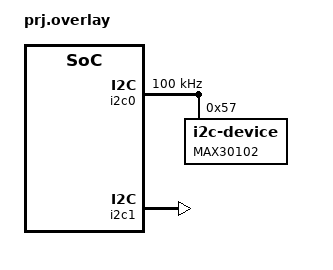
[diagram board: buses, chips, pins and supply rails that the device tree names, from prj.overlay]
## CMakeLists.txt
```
cmake_minimum_required(VERSION 3.20.0)
find_package(Zephyr REQUIRED HINTS $ENV{ZEPHYR_BASE})

project(i2c_devices)

target_sources(app PRIVATE src/main.c src/heart_rate.c src/i2c.c src/MAX30102.c src/BMP280.c src/MLX90614.c src/MPU6050.c)
```

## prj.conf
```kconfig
CONFIG_I2C=y
CONFIG_I2C_TARGET=y
CONFIG_I2C_NRFX=y
CONFIG_SERIAL=y
CONFIG_PRINTK=y
CONFIG_GPIO=y
CONFIG_UART_CONSOLE=y
CONFIG_ADC=y
CONFIG_ADC_NRFX_SAADC=y
CONFIG_PRINTK=y
CONFIG_CBPRINTF_FP_SUPPORT=y
CONFIG_SHELL=y
CONFIG_I2C_SHELL=y
```

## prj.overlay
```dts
&i2c0 {
    compatible = "nordic,nrf-twim";
    status = "okay";
    clock-frequency = <I2C_BITRATE_STANDARD>;

    max30102: max30102@57 {
        compatible = "i2c-device";
        reg = <0x57>;
        label = "MAX30102";
    };
};

&i2c1 {
    status = "okay";
};
```

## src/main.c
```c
#include <zephyr/device.h>
#include <zephyr/drivers/i2c.h>
#include <zephyr/sys/printk.h>
#include <zephyr/kernel.h>
#include <stdint.h>
#include <stdio.h>
#include <stdlib.h>

#include "MPU6050.h"
#include "MLX90614.h"
#include "BMP280.h"
#include "i2c.h"
#include "i2c.h"
#include "MAX30102.h"
#include "heart_rate.h"

//static const struct i2c_dt_spec dev_max30102 = MAX30102_DT_SPEC;


int main(void) {
    i2c_init();
    // max30102_default_setup(&dev_max30102);

    while (1) {
        i2c_read_data();  // Read and print other sensors
        // max30102_print_data();  // Print MAX30102 data
        // sleep for 0.1 seconds
        k_sleep(K_MSEC(100));
    }

    return 0;
}
```

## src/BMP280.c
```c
// #include <zephyr/device.h>
// #include <zephyr/drivers/i2c.h>
// #include <zephyr/sys/printk.h>
// #include <zephyr/kernel.h>
// #include "bmp280.h"
// #include "i2c.h"

// // Calibration parameters
// uint16_t dig_T1;
// int16_t dig_T2, dig_T3;
// uint16_t dig_P1;
// int16_t dig_P2, dig_P3, dig_P4, dig_P5, dig_P6, dig_P7, dig_P8, dig_P9;
// int32_t t_fine;

// void bmp280_init(const struct device *i2c_dev) {
//     uint8_t chip_id;

//     // Read Chip ID
//     if (i2c_read_register(i2c_dev, BMP280_ADDR, BMP280_REG_CHIPID, &chip_id) != 0 || chip_id != 0x58) {
//         printk("Error: BMP280 not detected or invalid Chip ID\n");
//         return;
//     }
//     printk("BMP280 detected. Chip ID: 0x%x\n", chip_id);

//     // Reset the sensor
//     i2c_write_register(i2c_dev, BMP280_ADDR, BMP280_REG_SOFTRESET, 0xB6);
//     k_sleep(K_MSEC(100));

//     // Read calibration data
//     uint8_t calib_data[24];
//     if (i2c_read_registers(i2c_dev, BMP280_ADDR, BMP280_REG_CALIB_START, calib_data, sizeof(calib_data)) != 0) {
//         printk("Error: Failed to read calibration data\n");
//         return;
//     }

//     // Parse calibration data
//     dig_T1 = (calib_data[1] << 8) | calib_data[0];
//     dig_T2 = (calib_data[3] << 8) | calib_data[2];
//     dig_T3 = (calib_data[5] << 8) | calib_data[4];
//     dig_P1 = (calib_data[7] << 8) | calib_data[6];
//     dig_P2 = (calib_data[9] << 8) | calib_data[8];
//     dig_P3 = (calib_data[11] << 8) | calib_data[10];
//     dig_P4 = (calib_data[13] << 8) | calib_data[12];
//     dig_P5 = (calib_data[15] << 8) | calib_data[14];
//     dig_P6 = (calib_data[17] << 8) | calib_data[16];
//     dig_P7 = (calib_data[19] << 8) | calib_data[18];
//     dig_P8 = (calib_data[21] << 8) | calib_data[20];
//     dig_P9 = (calib_data[23] << 8) | calib_data[22];

//     // printk("Calibration Data: T1: %u, T2: %d, T3: %d, P1: %u, P2: %d, P3: %d, P4: %d, P5: %d, P6: %d, P7: %d, P8: %d, P9: %d\n",
//     //        dig_T1, dig_T2, dig_T3, dig_P1, dig_P2, dig_P3, dig_P4, dig_P5, dig_P6, dig_P7, dig_P8, dig_P9);

//     // Configure sensor: normal mode, oversampling x1 for temp & pressure
//     uint8_t ctrl_meas = (0x01 << 5) | (0x01 << 2) | 0x03;
//     i2c_write_register(i2c_dev, BMP280_ADDR, BMP280_REG_CONTROL, ctrl_meas);
//     i2c_write_register(i2c_dev, BMP280_ADDR, BMP280_REG_CONFIG, 0);
// }

// void read_bmp280_data(const struct device *i2c_dev) {
//     uint8_t data[6];

//     if (i2c_read_registers(i2c_dev, BMP280_ADDR, BMP280_REG_PRESSURE_MSB, data, sizeof(data)) != 0) {
//         printk("Error: Failed to read BMP280 data\n");
//         return;
//     }

//     int32_t adc_T = (data[3] << 12) | (data[4] << 4) | (data[5] >> 4);
//     int32_t adc_P = (data[0] << 12) | (data[1] << 4) | (data[2] >> 4);

//     //printk("ADC_T: %d, ADC_P: %d\n", adc_T, adc_P);

//     // Temperature compensation
//     int32_t var1 = ((((adc_T >> 3) - ((int32_t)dig_T1 << 1))) * ((int32_t)dig_T2)) >> 11;
//     int32_t var2 = (((((adc_T >> 4) - ((int32_t)dig_T1)) * ((adc_T >> 4) - ((int32_t)dig_T1))) >> 12) * ((int32_t)dig_T3)) >> 14;
//     t_fine = var1 + var2;
//     float celsius = ((t_fine * 5 + 128) >> 8) / 100.0f;

//     // Pressure compensation
//     int64_t var1_p = ((int64_t)t_fine) - 128000;
//     int64_t var2_p = var1_p * var1_p * (int64_t)dig_P6 + ((var1_p * (int64_t)dig_P5) << 17) + (((int64_t)dig_P4) << 35);
//     var1_p = (((var1_p * var1_p * (int64_t)dig_P3) >> 8) + ((var1_p * (int64_t)dig_P2) << 12));
//     var1_p = ((((int64_t)1 << 47) + var1_p) * (int64_t)dig_P1) >> 33;

//     if (var1_p == 0) {
//         printk("Error: Division by zero in pressure calculation\n");
//         return;
//     }

//     int64_t p = ((((int64_t)1048576 - adc_P) << 31) - var2_p) * 3125 / var1_p;
//     var1_p = (((int64_t)dig_P9) * (p >> 13) * (p >> 13)) >> 25;
//     var2_p = (((int64_t)dig_P8) * p) >> 19;
//     p = ((p + var1_p + var2_p) >> 8) + (((int64_t)dig_P7) << 4);

//     float pressure = p / 25600.0f;  // Convert to hPa

//     printk("Temperature: %.2f °C, Pressure: %.2f hPa\n", celsius, pressure);
// }
```

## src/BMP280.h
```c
#ifndef BMP280_H
#define BMP280_H

#include <zephyr/device.h>
#include <zephyr/drivers/i2c.h>
#include <zephyr/sys/printk.h>
#include <zephyr/kernel.h>
#include <stdint.h>

// HOW TO CONNECT: (BMP --> Nordic)
// SCK --> Pin 27
// SDI --> Pin 26
// SDO --> GND (for I2C Address 0x76)    *VDO --> VDD (makes I2C address 0x77)*
// CS --> VDD
// 3Vo --> VDD
// GND --> GND

#define BMP280_ADDR 0x77  // Adjust to 0x77 if SDO pin is high

// BMP280 Register Addresses
#define BMP280_REG_CALIB_START    0x88
#define BMP280_REG_CHIPID         0xD0
#define BMP280_REG_SOFTRESET      0xE0
#define BMP280_REG_CONTROL        0xF4
#define BMP280_REG_CONFIG         0xF5
#define BMP280_REG_PRESSURE_MSB   0xF7
#define BMP280_REG_TEMPERATURE_MSB 0xFA

void bmp280_init(const struct device *i2c_dev);
void read_bmp280_data(const struct device *i2c_dev);

#endif
```

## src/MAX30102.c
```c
// #include "MAX30102.h"
// #include "i2c.h"
// #include "heart_rate.h"

// //static const struct i2c_dt_spec max30102_dev = MAX30102_DT_SPEC;
// static sensor_struct sensor_data;

// void max30102_default_setup(const struct i2c_dt_spec *dev_max30102)
// {
//     max30102_pulse_oximeter_setup(dev_max30102, 4, false, 4, MULTI_LED, 50, 69, 16384);
// }

// /*
//  * @brief Setup the pulse oximeter
//  * @param sample_avg The number of samples to average. Must be a multiple of 2 between 1 and 32 - default 4
//  * @param fifo_rollover Whether the FIFO should rollover. Must be true or false - default true
//  * @param fifo_int_threshold The FIFO interrupt threshold. Must be between 0 and 15 - default 4
//  * @param mode The mode of the pulse oximeter. Must be one of HEART_RATE, SPO2, or MULTI_LED - default MULTI_LED
//  * @param sample_rate The sample rate of the ADC. Must be one of 50, 100, 200, 400, 800, 1000, 1600, 3200 - default 50
//  * @param pulse_width The pulse width of the LED. Must be one of 69, 118, 215, 411 - default 69
//  * @param adc_range The range of the ADC. Must be one of 2048, 4096, 8192, 16384 - default 16384
//  */
// void max30102_pulse_oximeter_setup(const struct i2c_dt_spec *dev_max30102, uint8_t sample_avg, bool fifo_rollover, uint8_t fifo_int_threshold, MAX30102_mode_t mode, int sample_rate, int pulse_width, int adc_range)
// {
//     uint8_t address, data;

//     // check i2c_device is ready
//     if (!d_i2c_is_ready(dev_max30102)) {
//         return;
//     }

//     // reset the device
//     address = MAX30102_MODE_CONFIG;
//     data = 0x40; // x_1_xxx_xxx
//     if (d_i2c_write_byte(dev_max30102, address, data) == false) {
// 		printk("Failed to reset device\n");
// 		return;
// 	}

//     // switch(sample_avg){
// 	// 	case 1:
// 	// 		data = 0x00; // 000_x_0000
// 	// 		break;
// 	// }

// 	// // sample avg = 4, rollover disabled, almost full = 17 // 010_0_1111
// 	address = MAX30102_FIFO_CONFIG;
// 	data = 0x0F; // 001_0_1111
// 	d_i2c_write_byte(dev_max30102, address, data);

// 	//mode = multi led // 0_0_xxx_111
// 	//mode = sp02 // 0_0_xxx_011
// 	address = MAX30102_MODE_CONFIG;
// 	data = 0x03; 
// 	d_i2c_write_byte(dev_max30102, address, data);

// 	//adc range = 16384, sample rate = 50, pulse width = 69 // x11_000_00
// 	//SP02 ADC = 4096, sample rate = 100, pulse width = 411 // x01_001_11
// 	address = MAX30102_SPO2_CONFIG;
// 	data = 0x27; 
// 	d_i2c_write_byte(dev_max30102, address, data);
	
// 	// set power level to 6.2mA (0x1F)
// 	address = MAX30102_LED1_PA;
// 	data = 0x1F;
// 	d_i2c_write_byte(dev_max30102, address, data);

// 	address = MAX30102_LED2_PA;
// 	data = 0x1F;
// 	d_i2c_write_byte(dev_max30102, address, data);

// 	// // multi_led control registers
// 	// address = 0x11; 
// 	// data = 0x07; // x_001_x_010 (RED and IR LED)
// 	// write_byte(address, data);

// 	// address = 0x12;
// 	// data = 0x07; // x_000_x_000 (NO LED)
// 	// write_byte(address, data);

// 	// clear fifo
// 	d_i2c_write_byte(dev_max30102, MAX30102_FIFO_WR_PTR, 0x00);
// 	d_i2c_write_byte(dev_max30102, MAX30102_FIFO_O_CNTR, 0x00);
// 	d_i2c_write_byte(dev_max30102, MAX30102_FIFO_RD_PTR, 0x00);
// }

// int max30102_get_data(const struct i2c_dt_spec *dev_max30102)
// {
//     // uint8_t read_ptr, write_ptr, ovf_ctr;
// 	// read_register(&dev_i2c0, 0x04, &read_ptr);
// 	// read_register(&dev_i2c0, 0x05, &ovf_ctr);
// 	// read_register(&dev_i2c0, 0x06, &write_ptr);

// 	// if (read_ptr == write_ptr) {
// 	// 	printk("FIFO is empty\n");
// 	// 	printk("Read pointer: %d, Write pointer: %d, Overflow counter: %d\n", read_ptr, write_ptr, ovf_ctr);
// 	// 	return 0;
// 	// } else {
// 	// 	printk("FIFO is not empty\n");
// 	// 	printk("Read pointer: %d, Write pointer: %d, Overflow counter: %d\n", read_ptr, write_ptr, ovf_ctr);
// 	// 	int num_samples_to_read = (write_ptr - read_ptr) & 0x1F; // mask to get the lower 5 bits of the difference

// 	// 	// know the number of samples we need to read
// 	// 	int num_bytes_to_read = num_samples_to_read * 6; // 3 bytes for red and 3 bytes for ir for each sample

// 	// 	// prepare to read data from the fifo buffer address many times


// 	// 	uint8_t data[num_bytes_to_read];
// 	// 	read_registers(&dev_i2c0, 0x07, data, num_bytes_to_read);

// 	// 	for (int i = 0; i < num_bytes_to_read; i += 6) {
// 	// 		sensor_data.head_ptr ++;
// 	// 		sensor_data.head_ptr %= DATA_BUFFER_SIZE;
			
// 	// 		sensor_data.red[sensor_data.head_ptr] = ((data[i] << 16) | (data[i + 1] << 8) | data[i + 2]) & 0x3FFFF;
// 	// 		sensor_data.ir[sensor_data.head_ptr] = ((data[i + 3] << 16) | (data[i + 4] << 8) | data[i + 5]) & 0x3FFFF;
// 	// 	}
// 	// 	return num_samples_to_read;
// 	// }

// 	uint8_t data[6];
// 	bool ret = d_i2c_read_registers(dev_max30102, 0x07, data, 6);
// 	if (ret == true){
// 		sensor_data.head_ptr ++;
// 		sensor_data.head_ptr %= DATA_BUFFER_SIZE;	
// 		sensor_data.red[sensor_data.head_ptr] = ((data[0] << 16) | (data[1] << 8) | data[2]) & 0x3FFFF;
// 		sensor_data.ir[sensor_data.head_ptr] = ((data[3] << 16) | (data[4] << 8) | data[5]) & 0x3FFFF;
// 	}
// 	return 6;
// }

// // Global Variables
// double beatsPerMinute = 0;
// double beatAvg = 0;

// int max30102_read_data(const struct i2c_dt_spec *dev_max30102)
// {
//     const uint8_t RATE_SIZE = 4; //Increase this for more averaging. 4 is good.
// 	uint8_t rates[RATE_SIZE]; //Array of heart rates
// 	uint8_t rateSpot = 0;
// 	long lastBeat = 0; //Time at which the last beat occurred
	

// 	if (max30102_get_data(dev_max30102) == 0){
// 		printk("No data\n");
// 		return -1;  // Return error code when no data
// 	} else {
// 		long irVal = sensor_data.ir[sensor_data.head_ptr];

// 		if (checkForBeat(irVal) == true) {
// 			//We sensed a beat!
// 			long delta = k_uptime_get() - lastBeat;
// 			lastBeat = k_uptime_get();
		
// 			beatsPerMinute = 60 / (delta / 1000.0);
		
// 			if (beatsPerMinute < 255 && beatsPerMinute > 20) {
// 				rates[rateSpot++] = (uint8_t)beatsPerMinute; //Store this reading in the array
// 				rateSpot %= RATE_SIZE; //Wrap variable
		
// 				//Take average of readings
// 				beatAvg = 0;
// 				for (uint8_t x = 0 ; x < RATE_SIZE ; x++)
// 				beatAvg += rates[x];
// 				beatAvg /= RATE_SIZE;
// 			}
// 		}

// 		//printk(">Red:%d,IR:%d,BPM:%.2f,AvgBPM:%.2f\n", sensor_data.red[sensor_data.head_ptr], sensor_data.ir[sensor_data.head_ptr], beatsPerMinute, beatAvg);
// 	}
// 	return 0;
// }

// void max30102_print_data(void)
// {
//     printk(">Red:%d, IR:%d, BPM:%.2f, AvgBPM:%.2f\n",
//            sensor_data.red[sensor_data.head_ptr],
//            sensor_data.ir[sensor_data.head_ptr],
//            beatsPerMinute,
//            beatAvg);
// }
```

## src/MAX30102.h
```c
/*
    * MAX30102.h
    *
    *  Created on: 2020. 12. 10.
    * 
    * This file was created to interface with the MAX30102 pulse oximeter sensor
    * It uses algorithms developed by Nathan Seidle of Sparkfun Electronics as 
    * adapted in i2c_de.
    * 
    * TODO: need to clean this up and add more functionality
*/

#ifndef MAX30102_H_
#define MAX30102_H_

#include <zephyr/kernel.h>
#include <zephyr/drivers/i2c.h>

#define MAX30102_NODE DT_NODELABEL(max30102)
#define MAX30102_DT_SPEC I2C_DT_SPEC_GET(MAX30102_NODE)

#define MAX30102_FIFO_CONFIG        0x08
#define MAX30102_MODE_CONFIG        0x09
#define MAX30102_SPO2_CONFIG        0x0A
#define MAX30102_LED1_PA            0x0C
#define MAX30102_LED2_PA            0x0D
#define MAX30102_MULTI_LED_CONFIG1  0x11
#define MAX30102_MULTI_LED_CONFIG2  0x12

#define MAX30102_FIFO_WR_PTR        0x04
#define MAX30102_FIFO_O_CNTR        0x05
#define MAX30102_FIFO_RD_PTR        0x06
#define MAX30102_FIFO_DATA          0x07

#define DATA_BUFFER_SIZE 32
typedef struct buffer {
	    uint32_t red[DATA_BUFFER_SIZE];
	    uint32_t ir[DATA_BUFFER_SIZE];
	    uint8_t head_ptr;
	    uint8_t tail_ptr;
} sensor_struct;

typedef enum{
	HEART_RATE = 2,
	SPO2 = 3,
	MULTI_LED = 7
} MAX30102_mode_t;

void max30102_default_setup(const struct i2c_dt_spec *dev_max30102);
void max30102_pulse_oximeter_setup(const struct i2c_dt_spec *dev_max30102, uint8_t sample_avg, bool fifo_rollover, uint8_t fifo_int_threshold, MAX30102_mode_t mode, int sample_rate, int pulse_width, int adc_range);
int max30102_get_data(const struct i2c_dt_spec *dev_max30102);
int max30102_read_data(const struct i2c_dt_spec *dev_max30102);

#endif 
```

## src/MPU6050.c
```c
#include <zephyr/device.h>
#include <zephyr/drivers/i2c.h>
#include <zephyr/sys/printk.h>
#include <zephyr/kernel.h>
#include <math.h>
#include "mpu6050.h"
#include "i2c.h"

// Step detection configuration
#define WINDOW_SIZE         10   // Moving average window size
#define STEP_THRESHOLD     0.08f  // Minimum acceleration magnitude to register as step
#define STEP_COOLDOWN_MS   250  // Minimum time between steps
#define GYRO_STEP_THRESHOLD 1.5f // Gyroscope threshold for step detection

// Step counter structure
typedef struct {
    float magnitude_buffer[WINDOW_SIZE];
    uint8_t buffer_index;
    uint32_t last_step_time;
    uint32_t step_count;
    float moving_average;
    float accel_x;
    float accel_y;
    float accel_z;
    float gyro_x;
    float gyro_y;
    float gyro_z;
} StepCounter;

static StepCounter step_counter;

// Initialize the step counter
static void init_step_counter(void) {
    step_counter.buffer_index = 0;
    step_counter.last_step_time = 0;
    step_counter.step_count = 0;
    step_counter.moving_average = 0;
    
    for(int i = 0; i < WINDOW_SIZE; i++) {
        step_counter.magnitude_buffer[i] = 0;
    }
}

// Process acceleration data for step counting
static void process_step_detection(float accel_x, float accel_y, float accel_z, float gyro_y, float gyro_z) {
    // Remove gravity using a high-pass filter approximation
    float magnitude = fabsf(sqrtf(
        accel_x * accel_x + 
        accel_y * accel_y + 
        accel_z * accel_z
    ) - 1.0f);
    
    // Update moving average
    step_counter.moving_average -= step_counter.magnitude_buffer[step_counter.buffer_index] / WINDOW_SIZE;
    step_counter.magnitude_buffer[step_counter.buffer_index] = magnitude;
    step_counter.moving_average += magnitude / WINDOW_SIZE;
    
    // Get current time in milliseconds
    uint32_t current_time = k_uptime_get_32();

    printk("Magnitude: %f\n", magnitude);
    printk("Moving Average: %f\n", step_counter.moving_average);
    
    // Detect step using peak detection and gyroscope data
    if (magnitude > STEP_THRESHOLD && 
        magnitude > step_counter.moving_average &&
        fabs(gyro_y) > GYRO_STEP_THRESHOLD &&
        fabs(gyro_z) > GYRO_STEP_THRESHOLD &&
        (current_time - step_counter.last_step_time) > STEP_COOLDOWN_MS) {
        step_counter.step_count++;
        step_counter.last_step_time = current_time;
        printk("Step detected! Total steps: %d\n", step_counter.step_count);
    }
    
    step_counter.buffer_index = (step_counter.buffer_index + 1) % WINDOW_SIZE;
}

void mpu6050_init(const struct device *i2c_dev) {
    uint8_t device_id;

    // Read device_id register
    if (i2c_read_register(i2c_dev, MPU6050_ADDR, DEVICE_ID, &device_id) != 0) {
        printk("MPU6050 not detected! (device_id: 0x%02X)\n", device_id);
        return;
    }

    printk("MPU6050 detected (device_id: 0x%02X)\n", device_id);
    k_msleep(100);

    // Wake up MPU6050 by writing 0x00 to PWR_MGMT_1
    if (i2c_write_register(i2c_dev, MPU6050_ADDR, PWR_MGMT_1, 0x00) != 0) {
        printk("Failed to wake up MPU6050\n");
    } else {
        printk("MPU6050 initialized successfully\n");
    }

    // Initialize step counter
    init_step_counter();
}

void read_mpu6050_data(const struct device *i2c_dev) {
    int16_t accel_x, accel_y, accel_z;
    int16_t gyro_x, gyro_y, gyro_z;
    uint8_t data[6];

    // Read accelerometer data (6 bytes)
    if (i2c_read_registers(i2c_dev, MPU6050_ADDR, ACCEL_XOUT_H, data, 6) == 0) {
        accel_x = (int16_t)((data[0] << 8) | data[1]);
        accel_y = (int16_t)((data[2] << 8) | data[3]);
        accel_z = (int16_t)((data[4] << 8) | data[5]);

        step_counter.accel_x = (float)accel_x / 16384.0f;
        step_counter.accel_y = (float)accel_y / 16384.0f;
        step_counter.accel_z = (float)accel_z / 16384.0f;

        printk("Accelerometer (g): X=%.2f, Y=%.2f, Z=%.2f\n", 
               step_counter.accel_x, step_counter.accel_y, step_counter.accel_z);
    } else {
        printk("Failed to read accelerometer data\n");
    }

    // Read gyroscope data (6 bytes)
    if (i2c_read_registers(i2c_dev, MPU6050_ADDR, GYRO_XOUT_H, data, 6) == 0) {
        gyro_x = (int16_t)((data[0] << 8) | data[1]);
        gyro_y = (int16_t)((data[2] << 8) | data[3]);
        gyro_z = (int16_t)((data[4] << 8) | data[5]);

        step_counter.gyro_x = (float)gyro_x / 131.0f;
        step_counter.gyro_y = (float)gyro_y / 131.0f;
        step_counter.gyro_z = (float)gyro_z / 131.0f;

        printk("Gyroscope (°/s): X=%.2f, Y=%.2f, Z=%.2f\n", 
               step_counter.gyro_x, step_counter.gyro_y, step_counter.gyro_z);
        process_step_detection(step_counter.accel_x, step_counter.accel_y, step_counter.accel_z, step_counter.gyro_y, step_counter.gyro_z);
    } else {
        printk("Failed to read gyroscope data\n");
    }
    // Process acceleration and gyroscope data for step detection
}

// Function to get current step count
uint32_t get_step_count(void) {
    return step_counter.step_count;
}

// Function to reset step counter
void reset_step_counter(void) {
    step_counter.step_count = 0;
    printk("Step counter reset to 0\n");
}
```

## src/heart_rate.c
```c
#include "heart_rate.h"

int16_t IR_AC_Max = 20;
int16_t IR_AC_Min = -20;

int16_t IR_AC_Signal_Current = 0;
int16_t IR_AC_Signal_Previous;
int16_t IR_AC_Signal_min = 0;
int16_t IR_AC_Signal_max = 0;
int16_t IR_Average_Estimated;

int16_t positiveEdge = 0;
int16_t negativeEdge = 0;
int32_t ir_avg_reg = 0;

int16_t cbuf[32];
uint8_t offset = 0;

static const uint16_t FIRCoeffs[12] = {172, 321, 579, 927, 1360, 1858, 2390, 2916, 3391, 3768, 4012, 4096};

//  Heart Rate Monitor functions takes a sample value and the sample number
//  Returns true if a beat is detected
//  A running average of four samples is recommended for display on the screen.
bool checkForBeat(int32_t sample)
{
  bool beatDetected = false;

  //  Save current state
  IR_AC_Signal_Previous = IR_AC_Signal_Current;
  
  //This is good to view for debugging
  //Serial.print("Signal_Current: ");
  //Serial.println(IR_AC_Signal_Current);

  //  Process next data sample
  IR_Average_Estimated = averageDCEstimator(&ir_avg_reg, sample);
  IR_AC_Signal_Current = lowPassFIRFilter(sample - IR_Average_Estimated);

  //  Detect positive zero crossing (rising edge)
  if ((IR_AC_Signal_Previous < 0) & (IR_AC_Signal_Current >= 0))
  {
  
    IR_AC_Max = IR_AC_Signal_max; //Adjust our AC max and min
    IR_AC_Min = IR_AC_Signal_min;

    positiveEdge = 1;
    negativeEdge = 0;
    IR_AC_Signal_max = 0;

    //if ((IR_AC_Max - IR_AC_Min) > 100 & (IR_AC_Max - IR_AC_Min) < 1000)
    if ((IR_AC_Max - IR_AC_Min) > 20 & (IR_AC_Max - IR_AC_Min) < 1000)
    {
      //Heart beat!!!
      beatDetected = true;
    }
  }

  //  Detect negative zero crossing (falling edge)
  if ((IR_AC_Signal_Previous > 0) & (IR_AC_Signal_Current <= 0))
  {
    positiveEdge = 0;
    negativeEdge = 1;
    IR_AC_Signal_min = 0;
  }

  //  Find Maximum value in positive cycle
  if (positiveEdge & (IR_AC_Signal_Current > IR_AC_Signal_Previous))
  {
    IR_AC_Signal_max = IR_AC_Signal_Current;
  }

  //  Find Minimum value in negative cycle
  if (negativeEdge & (IR_AC_Signal_Current < IR_AC_Signal_Previous))
  {
    IR_AC_Signal_min = IR_AC_Signal_Current;
  }
  
  return(beatDetected);
}

//  Average DC Estimator
int16_t averageDCEstimator(int32_t *p, uint16_t x)
{
  *p += ((((long) x << 15) - *p) >> 4);
  return (*p >> 15);
}

//  Low Pass FIR Filter
int16_t lowPassFIRFilter(int16_t din)
{  
  cbuf[offset] = din;

  int32_t z = mul16(FIRCoeffs[11], cbuf[(offset - 11) & 0x1F]);
  
  for (uint8_t i = 0 ; i < 11 ; i++)
  {
    z += mul16(FIRCoeffs[i], cbuf[(offset - i) & 0x1F] + cbuf[(offset - 22 + i) & 0x1F]);
  }

  offset++;
  offset %= 32; //Wrap condition

  return(z >> 15);
}

//  Integer multiplier
int32_t mul16(int16_t x, int16_t y)
{
  return((long)x * (long)y);
}
```

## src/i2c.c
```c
#include "i2c.h"
#include "BMP280.h"
#include "MPU6050.h"
#include "MLX90614.h"
#include <zephyr/device.h>
#include <zephyr/drivers/i2c.h>
#include <zephyr/sys/printk.h>
#include <zephyr/kernel.h>

const struct device *i2c_dev0 = DEVICE_DT_GET(DT_NODELABEL(i2c0));
const struct device *i2c_dev1 = DEVICE_DT_GET(DT_NODELABEL(i2c1));

int i2c_write_register(const struct device *i2c_dev, uint8_t dev_addr, uint8_t reg_addr, uint8_t data) {
    uint8_t buffer[2] = {reg_addr, data};
    return i2c_write(i2c_dev, buffer, sizeof(buffer), dev_addr);
}

int i2c_read_register(const struct device *i2c_dev, uint8_t dev_addr, uint8_t reg_addr, uint8_t *data) {
    return i2c_write_read(i2c_dev, dev_addr, &reg_addr, 1, data, 1);
}

int i2c_read_registers(const struct device *i2c_dev, uint8_t dev_addr, uint8_t reg_addr, uint8_t *data, size_t len) {
    return i2c_write_read(i2c_dev, dev_addr, &reg_addr, 1, data, len);
}

void i2c_init(void) {
    if (!device_is_ready(i2c_dev0)) {
        printk("I2C0 device not ready\n");
        return;
    }

    if (!device_is_ready(i2c_dev1)) {
        printk("I2C1 device not ready\n");
        return;
    }

    mpu6050_init(i2c_dev0);
    // bmp280_init(i2c_dev1);
}

void i2c_read_data(void) {
    read_mpu6050_data(i2c_dev0);
    // read_mlx90614_data(i2c_dev0);
    // read_bmp280_data(i2c_dev1);
}

bool d_i2c_is_ready(const struct i2c_dt_spec *i2c_dev) {
    if (!i2c_is_ready_dt(i2c_dev)){
        printk("I2C bus is not ready\n");
        return false;
    } else {
        return true;
    }
}

bool d_i2c_write_byte(const struct i2c_dt_spec *i2c_dev, uint8_t address, uint8_t data)
{
	int ret;
	ret = i2c_reg_write_byte_dt(i2c_dev, address, data);
	if (ret < 0) {
		printk("Failed to write byte %x to register %x\n", data, address);
		return false;
	} else {
		if(REPORT_SUCCESS) printk("Wrote byte %2x to register %2x\n", data, address);
		return true;
	}
}

bool d_i2c_read_register(const struct i2c_dt_spec *i2c_dev, uint8_t reg_addr, uint8_t *data) {
    int ret = i2c_write_read_dt(i2c_dev, &reg_addr, 1, data, 1);
    if (ret < 0) {
        printk("Failed to read register %x\n", reg_addr);
        return false;
    } else {
        if(REPORT_SUCCESS) printk("Read register %x\n", reg_addr);
        return true;
    }
}

bool d_i2c_read_registers(const struct i2c_dt_spec *i2c_dev, uint8_t reg_addr, uint8_t *data, size_t len) {
    int ret = i2c_write_read_dt(i2c_dev, &reg_addr, 1, data, len);
    if (ret < 0) { 
        printk("Failed to read %d registers starting from %x\n", len, reg_addr);
        return false;
    } else {
        if(REPORT_SUCCESS) printk("Read %d registers starting from %x\n", len, reg_addr);
        return true;
    }
}
```

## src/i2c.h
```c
#ifndef I2C_H
#define I2C_H

#include <zephyr/device.h>
#include <stdint.h>
#include <stddef.h>

// General I2C read/write functions
int i2c_write_register(const struct device *i2c_dev, uint8_t dev_addr, uint8_t reg_addr, uint8_t data);
int i2c_read_register(const struct device *i2c_dev, uint8_t dev_addr, uint8_t reg_addr, uint8_t *data);
int i2c_read_registers(const struct device *i2c_dev, uint8_t dev_addr, uint8_t reg_addr, uint8_t *data, size_t len);

#endif
```
